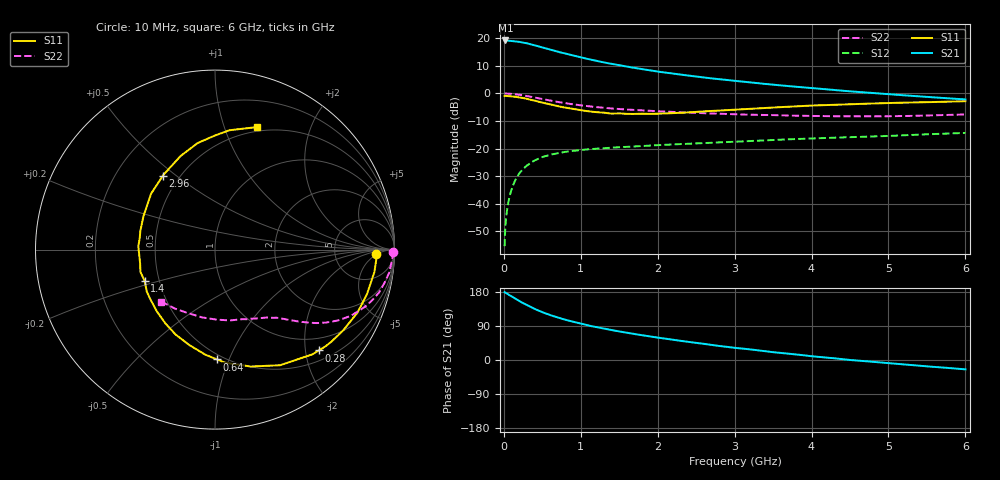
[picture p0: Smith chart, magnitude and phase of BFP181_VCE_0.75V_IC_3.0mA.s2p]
! Infineon Technologies  Discrete & RF Semiconductors
! BFP181
! VCE = 0.75V,  IC =  3.0 mA
! Common Emitter S-Parameters:  Jan 2016
# GHz  S  MA  R  50
!  f  S11  S21  S12  S22
! GHz  MAG  ANG  MAG  ANG  MAG  ANG  MAG  ANG
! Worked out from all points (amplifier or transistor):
!   210 points, 10 MHz to 6 GHz, reference 50 ohm
!   highest |S21| = 19.2 dB at 20 MHz (marker M1)
!   |S21| within 3 dB of that: start of sweep to 566.3 MHz
!   unconditionally stable (mu >= 1): 1.811 GHz to end of sweep
!   at 185 MHz: K = 0.14, MSG = 24.2 dB, |S12| = -29.7 dB
!   at 1.52 GHz: K = 0.89, MSG = 14.8 dB, |S12| = -19.5 dB
!   at 6 GHz: K = 1.20, MAG = 3.3 dB, |S12| = -14.3 dB
!   S11 on the Smith chart (normalised r, x): 10 MHz: 17, -4; 280 MHz: 0.71, -2.28; 640 MHz: 0.46, -0.91; 1.4 GHz: 0.41, -0.18; 2.96 GHz: 0.41, +0.45; 6 GHz: 0.46, +1.29
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0.01  0.8949 -1.6  9.071 179.0  0.0017 85.1  0.9908 -0.7
0.02  0.9002 -3.5  9.09 178.1  0.0039 86.3  0.9935 -1.6
0.07  0.8888 -11.3  8.966 171.4  0.0127 82.3  0.983 -5.4
0.16  0.8617 -25.5  8.709 160.4  0.0286 74.9  0.9586 -11.8
0.22  0.8344 -35.2  8.464 153.4  0.0382 70.0  0.9345 -15.9
0.28  0.8062 -44.2  8.163 147.1  0.0465 65.1  0.9046 -19.6
0.4  0.7395 -60.6  7.447 134.8  0.0608 57.2  0.8428 -25.9
0.5  0.6808 -73.1  6.798 126.1  0.0702 51.1  0.7904 -30.0
0.64  0.6123 -88.9  6.028 116.1  0.0791 45.1  0.7234 -34.3
0.7  0.5877 -95.3  5.689 112.0  0.0821 42.9  0.6981 -35.9
0.8  0.5509 -105.0  5.259 106.1  0.0871 39.8  0.6626 -37.9
1.02  0.4902 -125.6  4.413 94.8  0.0946 35.0  0.6013 -41.5
1.18  0.4596 -139.3  3.946 87.7  0.0989 32.1  0.5678 -43.6
1.4  0.4289 -156.0  3.426 79.1  0.1038 29.7  0.5318 -46.3
1.7  0.4234 -176.2  2.888 68.5  0.1093 27.5  0.4994 -49.6
2.02  0.4292 164.8  2.461 58.6  0.1155 25.7  0.4726 -53.3
2.42  0.4534 145.9  2.081 47.3  0.1225 23.7  0.4472 -59.1
2.96  0.5024 125.5  1.711 33.2  0.1321 21.4  0.4189 -67.7
3.1  0.514 121.2  1.633 30.2  0.1348 20.8  0.4131 -70.3
4.1  0.6069 97.4  1.213 8.2  0.154 16.2  0.3877 -91.2
5.1  0.6736 81.8  0.943 -10.0  0.1713 11.6  0.3858 -114.9
6  0.7209 71.2  0.776 -24.7  0.1917 6.8  0.4159 -135.8
